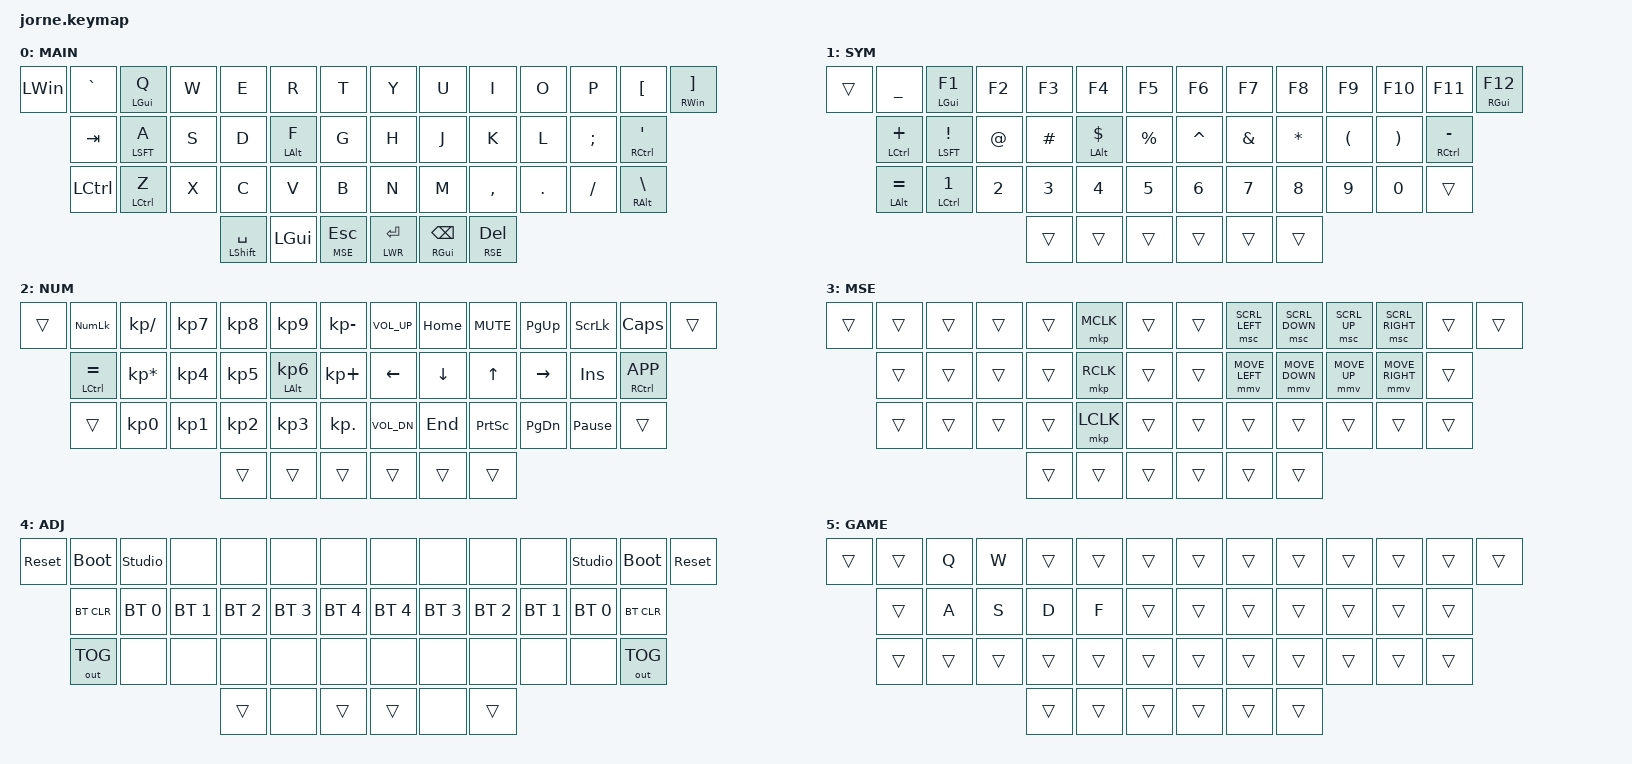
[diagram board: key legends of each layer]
#include <behaviors.dtsi>
#include <dt-bindings/zmk/keys.h>
#include <dt-bindings/zmk/bt.h>
#include <dt-bindings/zmk/outputs.h>
#include <dt-bindings/zmk/pointing.h>
#include <behaviors/mouse_keys.dtsi>

#define DEF 0
#define LWR 1
#define RSE 2
#define MSE 3
#define ADJ 4
#define GAM 5

&lt { quick-tap-ms = <219>; };
&mt { quick-tap-ms = <219>; };

/ {
        keymap {
                compatible = "zmk,keymap";

                default_layer {
                        display-name = "MAIN";
                        bindings = <
   &kp LWIN &kp GRAVE &mt LGUI Q &kp W &kp E           &kp R       &kp T         &kp Y        &kp U          &kp I     &kp O   &kp P    &kp LBKT      &mt RWIN RBKT
            &kp TAB &mt LSFT A &kp S &kp D           &mt LALT F  &kp G         &kp H        &kp J          &kp K     &kp L   &kp SEMI &mt RCTRL SQT
            &kp LCTL  &mt LCTL Z &kp X &kp C           &kp V       &kp B         &kp N        &kp M          &kp COMMA &kp DOT &kp FSLH &mt RALT BSLH
                                       &mt LSHFT SPACE &kp LGUI    &lt MSE ESC   &lt LWR ENTER  &mt RGUI BSPC &lt RSE DEL
                        >;
                };
                lower_layer {
                        display-name = "SYM";
                        bindings = <
   &trans &kp UNDER      &mt LGUI F1   &kp F2 &kp F3   &kp F4        &kp F5           &kp F6    &kp F7   &kp F8   &kp F9   &kp F10  &kp F11 &mt RGUI F12
          &mt LCTRL PLUS &mt LSFT EXCL &kp AT &kp HASH &mt LALT DLLR &kp PRCNT        &kp CARET &kp AMPS &kp STAR &kp LPAR &kp RPAR &mt RCTRL MINUS
          &mt LALT EQUAL &mt LCTL N1   &kp N2 &kp N3   &kp N4        &kp N5           &kp N6    &kp N7   &kp N8   &kp N9   &kp N0   &trans
                                              &trans   &trans        &trans           &trans    &trans   &trans
                        >;
                };

                raise_layer {
                        display-name = "NUM";
                        bindings = <
   &trans &kp KP_NUM      &kp KP_SLASH    &kp KP_N7 &kp KP_N8 &kp KP_N9      &kp KP_MINUS        &kp C_VOL_UP &kp HOME &kp  C_MUTE  &kp PG_UP &kp SLCK &kp CAPS &trans
          &mt LCTRL EQUAL &kp KP_MULTIPLY &kp KP_N4 &kp KP_N5 &mt LALT KP_N6 &kp KP_PLUS         &kp LEFT     &kp DOWN &kp  UP      &kp RIGHT &kp INS  &mt RCTRL K_APP
          &trans          &kp KP_N0       &kp KP_N1 &kp KP_N2 &kp KP_N3      &kp KP_DOT          &kp C_VOL_DN &kp END  &kp  PSCRN   &kp PG_DN &kp PAUSE_BREAK &trans
                                                        &trans &trans &trans        &trans &trans &trans
                        >;
                };
                mouse_layer {
                        display-name = "MSE";
                        bindings = <
      &trans    &trans    &trans    &trans    &trans    &mkp MCLK      &trans    &trans    &msc SCRL_LEFT    &msc SCRL_DOWN    &msc SCRL_UP    &msc SCRL_RIGHT    &trans    &trans
                &trans    &trans    &trans    &trans    &mkp RCLK      &trans    &trans    &mmv MOVE_LEFT    &mmv MOVE_DOWN    &mmv MOVE_UP    &mmv MOVE_RIGHT    &trans
                &trans    &trans    &trans    &trans    &mkp LCLK      &trans    &trans    &trans            &trans            &trans          &trans             &trans
                                              &trans    &trans         &trans    &trans    &trans            &trans
                         >;
                };
                adjust_layer {
                        display-name = "ADJ";
                        bindings = <
   &sys_reset &bootloader  &studio_unlock &none        &none        &none        &none              &none        &none        &none        &none        &studio_unlock &bootloader &sys_reset
              &bt BT_CLR   &bt BT_SEL 0   &bt BT_SEL 1 &bt BT_SEL 2 &bt BT_SEL 3 &bt BT_SEL 4       &bt BT_SEL 4 &bt BT_SEL 3 &bt BT_SEL 2 &bt BT_SEL 1 &bt BT_SEL 0   &bt BT_CLR
              &out OUT_TOG &none          &none        &none        &none        &none              &none        &none        &none        &none        &none          &out OUT_TOG
                                                                          &trans &none &trans       &trans &none &trans
                        >;
                };
                 game_layer {
                        display-name = "GAME";
                        bindings = <
                                                                                        /* ───────── Row 0 ───────── */
                                                        &trans &trans &kp Q &kp W &trans &trans &trans  &trans &trans &trans &trans &trans &trans &trans
                                                                                        /* ───────── Row 1 ───────── */
                                                        &trans &kp A &kp S &kp D &kp F &trans &trans   &trans &trans &trans &trans &trans
                                                                                        /* ───────── Row 2 ───────── */
                                                        &trans &trans &trans &trans &trans &trans       &trans &trans &trans &trans &trans &trans
                                                                                        /* ─────── Thumbs ───────── */
                                                                                &trans &trans &trans &trans &trans &trans
                            >;
                };
        };
};

/ {
        combos {
            compatible = "zmk,combos";

            combo_esc {
                timeout-ms = <50>;
                key-positions = <2 3>;
                bindings = <&kp ESC>;
            };

            yu_left_paren {
                timeout-ms = <50>;
                key-positions = <7 8>;
                bindings = <&kp LPAR>;
            };

            ui_right_paren {
                timeout-ms = <50>;
                key-positions = <8 9>;
                bindings = <&kp RPAR>;
            };

            hj_left_curly {
                timeout-ms = <50>;
                key-positions = <20 21>;
                bindings = <&kp LBRC>;
            };

            jk_right_curly {
                timeout-ms = <50>;
                key-positions = <21 22>;
                bindings = <&kp RBRC>;
            };

            nm_pipe {
                timeout-ms = <50>;
                key-positions = <32 33>;
                bindings = <&kp PIPE>;
            };

            rt_underscore {
                timeout-ms = <50>;
                key-positions = <5 6>;
                bindings = <&kp UNDERSCORE>;
            };

            yhn_game_toggle {
                timeout-ms = <50>;          
                key-positions = <7 20 32>;
                bindings = <&tog GAM>;
            };
        };
};
